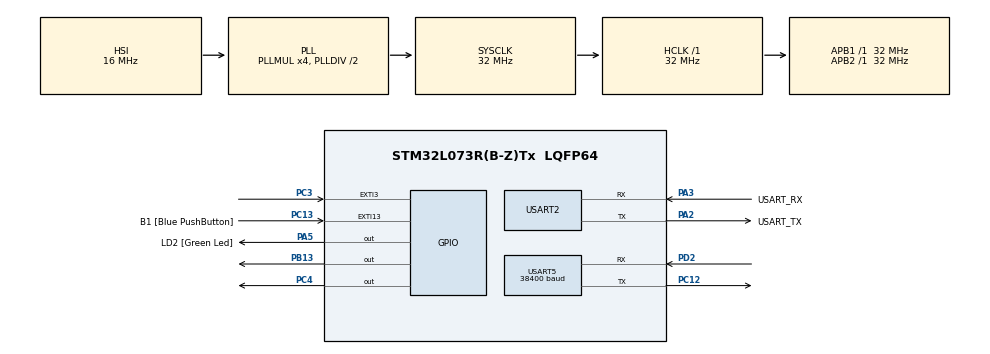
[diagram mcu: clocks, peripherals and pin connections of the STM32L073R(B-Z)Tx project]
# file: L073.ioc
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Mcu.Family=STM32L0
Mcu.Name=STM32L073R(B-Z)Tx
Mcu.Package=LQFP64
NVIC.EXTI2_3_IRQn=true\:0\:0\:false\:false\:true\:true
NVIC.USART4_5_IRQn=true\:0\:0\:false\:false\:true\:true
PA13.GPIO_Label=TMS
PA13.Mode=Serial_Wire
PA13.Signal=SYS_SWDIO
PA14.GPIO_Label=TCK
PA14.Mode=Serial_Wire
PA14.Signal=SYS_SWCLK
PA2.GPIO_Label=USART_TX
PA2.GPIO_PuPd=GPIO_PULLUP
PA2.Mode=Asynchronous
PA2.Signal=USART2_TX
PA3.GPIO_Label=USART_RX
PA3.GPIO_PuPd=GPIO_PULLUP
PA3.Mode=Asynchronous
PA3.Signal=USART2_RX
PA5.GPIO_Label=LD2 [Green Led]
PA5.Signal=GPIO_Output
PB13.Signal=GPIO_Output
PC12.Mode=Asynchronous
PC12.Signal=USART5_TX
PC13.GPIO_Label=B1 [Blue PushButton]
PC13.GPIO_ModeDefaultEXTI=GPIO_MODE_IT_FALLING
PC13.Signal=GPXTI13
PC14-OSC32_IN.Mode=LSE-External-Oscillator
PC14-OSC32_IN.Signal=RCC_OSC32_IN
PC15-OSC32_OUT.Mode=LSE-External-Oscillator
PC15-OSC32_OUT.Signal=RCC_OSC32_OUT
PC3.GPIO_PuPd=GPIO_PULLDOWN
PC3.Signal=GPXTI3
PC4.Signal=GPIO_Output
PD2.Mode=Asynchronous
PD2.Signal=USART5_RX
PH0-OSC_IN.GPIO_Label=MCO
PH0-OSC_IN.Mode=HSE-External-Clock-Source
PH0-OSC_IN.Signal=RCC_OSC_IN
ProjectManager.HeapSize=0x200
ProjectManager.StackSize=0x400
ProjectManager.TargetToolchain=SW4STM32
RCC.AHBFreq_Value=32000000
RCC.APB1Freq_Value=32000000
RCC.APB1TimFreq_Value=32000000
RCC.APB2Freq_Value=32000000
RCC.APB2TimFreq_Value=32000000
RCC.HCLKFreq_Value=32000000
RCC.HSE_VALUE=8000000
RCC.HSI16_VALUE=16000000
RCC.HSI48_VALUE=48000000
RCC.HSI_VALUE=16000000
RCC.MSI_VALUE=2097000
RCC.PLLMUL=RCC_PLLMUL_4
RCC.SYSCLKFreq_VALUE=32000000
RCC.SYSCLKSource=RCC_SYSCLKSOURCE_PLLCLK
RCC.VCOOutputFreq_Value=64000000
USART2.VirtualMode-Asynchronous=VM_ASYNC
USART5.BaudRate=38400
USART5.VirtualMode-Asynchronous=VM_ASYNC
board=NUCLEO-L073RZ

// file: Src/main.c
/* USER CODE BEGIN Header */
/**
  ******************************************************************************
  * @file           : main.c
  * @brief          : Main program body
  ******************************************************************************
  ** This notice applies to any and all portions of this file
  * that are not between comment pairs USER CODE BEGIN and
  * USER CODE END. Other portions of this file, whether
  * inserted by the user or by software development tools
  * are owned by their respective copyright owners.
  *
  * COPYRIGHT(c) 2020 STMicroelectronics
  *
  * Redistribution and use in source and binary forms, with or without modification,
  * are permitted provided that the following conditions are met:
  *   1. Redistributions of source code must retain the above copyright notice,
  *      this list of conditions and the following disclaimer.
  *   2. Redistributions in binary form must reproduce the above copyright notice,
  *      this list of conditions and the following disclaimer in the documentation
  *      and/or other materials provided with the distribution.
  *   3. Neither the name of STMicroelectronics nor the names of its contributors
  *      may be used to endorse or promote products derived from this software
  *      without specific prior written permission.
  *
  * THIS SOFTWARE IS PROVIDED BY THE COPYRIGHT HOLDERS AND CONTRIBUTORS "AS IS"
  * AND ANY EXPRESS OR IMPLIED WARRANTIES, INCLUDING, BUT NOT LIMITED TO, THE
  * IMPLIED WARRANTIES OF MERCHANTABILITY AND FITNESS FOR A PARTICULAR PURPOSE ARE
  * DISCLAIMED. IN NO EVENT SHALL THE COPYRIGHT HOLDER OR CONTRIBUTORS BE LIABLE
  * FOR ANY DIRECT, INDIRECT, INCIDENTAL, SPECIAL, EXEMPLARY, OR CONSEQUENTIAL
  * DAMAGES (INCLUDING, BUT NOT LIMITED TO, PROCUREMENT OF SUBSTITUTE GOODS OR
  * SERVICES; LOSS OF USE, DATA, OR PROFITS; OR BUSINESS INTERRUPTION) HOWEVER
  * CAUSED AND ON ANY THEORY OF LIABILITY, WHETHER IN CONTRACT, STRICT LIABILITY,
  * OR TORT (INCLUDING NEGLIGENCE OR OTHERWISE) ARISING IN ANY WAY OUT OF THE USE
  * OF THIS SOFTWARE, EVEN IF ADVISED OF THE POSSIBILITY OF SUCH DAMAGE.
  *
  ******************************************************************************
  */
/* USER CODE END Header */

#include "main.h"

/* USER CODE BEGIN PD */
uint8_t Received[5];
volatile uint8_t licznik = 0;
/* USER CODE END PD */

UART_HandleTypeDef huart2;
UART_HandleTypeDef huart5;

void SystemClock_Config(void);
static void MX_GPIO_Init(void);
static void MX_USART5_UART_Init(void);
static void MX_USART2_UART_Init(void);
/* USER CODE BEGIN PFP */
void HAL_UART_RxCpltCallback(UART_HandleTypeDef *huart) {

 uint8_t Data[40]; // Tablica przechowujaca wysylana wiadomosc.
 uint16_t size = 0;

 size = sprintf(Data, "%s", Received);

 HAL_UART_Transmit_IT(&huart2, Data, size); // Rozpoczecie nadawania danych z wykorzystaniem przerwan
 HAL_UART_Receive_IT(&huart5, Received, 4); // Ponowne w³¹czenie nas³uchiwania

 if(strcmp(Data, "info") == 0)
 		{

 		HAL_GPIO_WritePin(GPIOB, GPIO_PIN_13, GPIO_PIN_SET);
 		}
 else
 		 {
 			 HAL_GPIO_WritePin(GPIOB, GPIO_PIN_13, GPIO_PIN_RESET);
 		 }
}

/* USER CODE END PFP */

int main(void)
{

  /* MCU Configuration--------------------------------------------------------*/

  /* Reset of all peripherals, Initializes the Flash interface and the Systick. */
  HAL_Init();

  /* Configure the system clock */
  SystemClock_Config();

  /* Initialize all configured peripherals */
  MX_GPIO_Init();
  MX_USART5_UART_Init();
  MX_USART2_UART_Init();
  /* USER CODE BEGIN 2 */

  uint8_t configuration[] = "AT+SETPANID ABCD";
  uint8_t wiadomosc[13] = "P2P 55F3 info";
  uint8_t nod[13] = "P2P 55F3 test";
  HAL_UART_Receive_IT(&huart5, Received, 4);
  HAL_UART_Transmit(&huart5, configuration, sizeof(configuration), 100);

  //HAL_UART_Transmit(&huart1, configuration, sizeof(configuration), 100);

  /* USER CODE END 2 */

  /* Infinite loop */
  while (1)
  {

    /* USER CODE BEGIN 3 */

	 HAL_UART_Transmit(&huart5, wiadomosc, sizeof(wiadomosc), 100);
	 HAL_Delay(1000);

	 HAL_UART_Transmit(&huart5, nod, sizeof(nod), 100);
	 HAL_Delay(1000);

  }
  /* USER CODE END 3 */
}

void SystemClock_Config(void)
{
  RCC_OscInitTypeDef RCC_OscInitStruct = {0};
  RCC_ClkInitTypeDef RCC_ClkInitStruct = {0};
  RCC_PeriphCLKInitTypeDef PeriphClkInit = {0};

  /**Configure the main internal regulator output voltage
  */
  __HAL_PWR_VOLTAGESCALING_CONFIG(PWR_REGULATOR_VOLTAGE_SCALE1);
  /**Initializes the CPU, AHB and APB busses clocks
  */
  RCC_OscInitStruct.OscillatorType = RCC_OSCILLATORTYPE_HSI;
  RCC_OscInitStruct.HSIState = RCC_HSI_ON;
  RCC_OscInitStruct.HSICalibrationValue = RCC_HSICALIBRATION_DEFAULT;
  RCC_OscInitStruct.PLL.PLLState = RCC_PLL_ON;
  RCC_OscInitStruct.PLL.PLLSource = RCC_PLLSOURCE_HSI;
  RCC_OscInitStruct.PLL.PLLMUL = RCC_PLLMUL_4;
  RCC_OscInitStruct.PLL.PLLDIV = RCC_PLLDIV_2;
  if (HAL_RCC_OscConfig(&RCC_OscInitStruct) != HAL_OK)
  {
    Error_Handler();
  }
  /**Initializes the CPU, AHB and APB busses clocks
  */
  RCC_ClkInitStruct.ClockType = RCC_CLOCKTYPE_HCLK|RCC_CLOCKTYPE_SYSCLK
                              |RCC_CLOCKTYPE_PCLK1|RCC_CLOCKTYPE_PCLK2;
  RCC_ClkInitStruct.SYSCLKSource = RCC_SYSCLKSOURCE_PLLCLK;
  RCC_ClkInitStruct.AHBCLKDivider = RCC_SYSCLK_DIV1;
  RCC_ClkInitStruct.APB1CLKDivider = RCC_HCLK_DIV1;
  RCC_ClkInitStruct.APB2CLKDivider = RCC_HCLK_DIV1;

  if (HAL_RCC_ClockConfig(&RCC_ClkInitStruct, FLASH_LATENCY_1) != HAL_OK)
  {
    Error_Handler();
  }
  PeriphClkInit.PeriphClockSelection = RCC_PERIPHCLK_USART2;
  PeriphClkInit.Usart2ClockSelection = RCC_USART2CLKSOURCE_PCLK1;
  if (HAL_RCCEx_PeriphCLKConfig(&PeriphClkInit) != HAL_OK)
  {
    Error_Handler();
  }
}

static void MX_USART2_UART_Init(void)
{

  huart2.Instance = USART2;
  huart2.Init.BaudRate = 115200;
  huart2.Init.WordLength = UART_WORDLENGTH_8B;
  huart2.Init.StopBits = UART_STOPBITS_1;
  huart2.Init.Parity = UART_PARITY_NONE;
  huart2.Init.Mode = UART_MODE_TX_RX;
  huart2.Init.HwFlowCtl = UART_HWCONTROL_NONE;
  huart2.Init.OverSampling = UART_OVERSAMPLING_16;
  huart2.Init.OneBitSampling = UART_ONE_BIT_SAMPLE_DISABLE;
  huart2.AdvancedInit.AdvFeatureInit = UART_ADVFEATURE_NO_INIT;
  if (HAL_UART_Init(&huart2) != HAL_OK)
  {
    Error_Handler();
  }

}

static void MX_USART5_UART_Init(void)
{

  huart5.Instance = USART5;
  huart5.Init.BaudRate = 38400;
  huart5.Init.WordLength = UART_WORDLENGTH_8B;
  huart5.Init.StopBits = UART_STOPBITS_1;
  huart5.Init.Parity = UART_PARITY_NONE;
  huart5.Init.Mode = UART_MODE_TX_RX;
  huart5.Init.HwFlowCtl = UART_HWCONTROL_NONE;
  huart5.Init.OverSampling = UART_OVERSAMPLING_16;
  huart5.Init.OneBitSampling = UART_ONE_BIT_SAMPLE_DISABLE;
  huart5.AdvancedInit.AdvFeatureInit = UART_ADVFEATURE_NO_INIT;
  if (HAL_UART_Init(&huart5) != HAL_OK)
  {
    Error_Handler();
  }

}

static void MX_GPIO_Init(void)
{
  GPIO_InitTypeDef GPIO_InitStruct = {0};

  /* GPIO Ports Clock Enable */
  __HAL_RCC_GPIOC_CLK_ENABLE();
  __HAL_RCC_GPIOH_CLK_ENABLE();
  __HAL_RCC_GPIOA_CLK_ENABLE();
  __HAL_RCC_GPIOB_CLK_ENABLE();
  __HAL_RCC_GPIOD_CLK_ENABLE();

  /*Configure GPIO pin Output Level */
  HAL_GPIO_WritePin(LD2_GPIO_Port, LD2_Pin, GPIO_PIN_RESET);

  /*Configure GPIO pin Output Level */
  HAL_GPIO_WritePin(GPIOC, GPIO_PIN_4, GPIO_PIN_RESET);

  /*Configure GPIO pin Output Level */
  HAL_GPIO_WritePin(GPIOB, GPIO_PIN_13, GPIO_PIN_RESET);

  /*Configure GPIO pin : B1_Pin */
  GPIO_InitStruct.Pin = B1_Pin;
  GPIO_InitStruct.Mode = GPIO_MODE_IT_FALLING;
  GPIO_InitStruct.Pull = GPIO_NOPULL;
  HAL_GPIO_Init(B1_GPIO_Port, &GPIO_InitStruct);

  /*Configure GPIO pin : PC3 */
  GPIO_InitStruct.Pin = GPIO_PIN_3;
  GPIO_InitStruct.Mode = GPIO_MODE_IT_RISING;
  GPIO_InitStruct.Pull = GPIO_PULLDOWN;
  HAL_GPIO_Init(GPIOC, &GPIO_InitStruct);

  /*Configure GPIO pin : LD2_Pin */
  GPIO_InitStruct.Pin = LD2_Pin;
  GPIO_InitStruct.Mode = GPIO_MODE_OUTPUT_PP;
  GPIO_InitStruct.Pull = GPIO_NOPULL;
  GPIO_InitStruct.Speed = GPIO_SPEED_FREQ_LOW;
  HAL_GPIO_Init(LD2_GPIO_Port, &GPIO_InitStruct);

  /*Configure GPIO pin : PC4 */
  GPIO_InitStruct.Pin = GPIO_PIN_4;
  GPIO_InitStruct.Mode = GPIO_MODE_OUTPUT_PP;
  GPIO_InitStruct.Pull = GPIO_NOPULL;
  GPIO_InitStruct.Speed = GPIO_SPEED_FREQ_LOW;
  HAL_GPIO_Init(GPIOC, &GPIO_InitStruct);

  /*Configure GPIO pin : PB13 */
  GPIO_InitStruct.Pin = GPIO_PIN_13;
  GPIO_InitStruct.Mode = GPIO_MODE_OUTPUT_PP;
  GPIO_InitStruct.Pull = GPIO_NOPULL;
  GPIO_InitStruct.Speed = GPIO_SPEED_FREQ_LOW;
  HAL_GPIO_Init(GPIOB, &GPIO_InitStruct);

  /* EXTI interrupt init*/
  HAL_NVIC_SetPriority(EXTI2_3_IRQn, 0, 0);
  HAL_NVIC_EnableIRQ(EXTI2_3_IRQn);

}

void Error_Handler(void)
{
}

/************************ (C) COPYRIGHT STMicroelectronics *****END OF FILE****/
